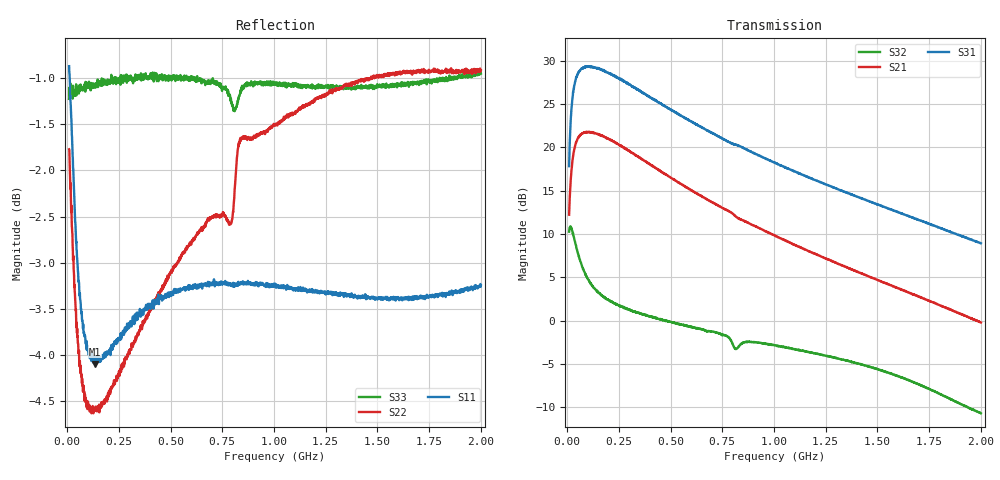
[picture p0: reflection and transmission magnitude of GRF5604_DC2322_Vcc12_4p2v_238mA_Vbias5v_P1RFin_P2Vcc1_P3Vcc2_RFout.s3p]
!Keysight Technologies,N5244B,MY57181157,A.18.40.03
!Date: Wednesday, September 10, 2025 10:41:40
!Correction: S11(C  3-Port  )
!S12(C  3-Port  )
!S13(C  3-Port  )
!S21(C  3-Port  )
!S22(C  3-Port  )
!S23(C  3-Port  )
!S31(C  3-Port  )
!S32(C  3-Port  )
!S33(C  3-Port  )
!S3P File: Measurements: <S11,S12,S13>,
!<S21,S22,S23>,
!<S31,S32,S33>:
# Hz S  RI  R 50
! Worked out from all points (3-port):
!   1991 points, 10 MHz to 2 GHz, reference 50 ohm
!   strongest paths, dB at 10 MHz, 507 MHz, 1.005 GHz, 1.503 GHz, 2 GHz:
!     S31: 17.8, 24.3, 18.2, 13.4, 8.9
!     S21: 12.2, 16.4, 9.8, 4.7, -0.2
!     S32: 10.3, -0.2, -2.8, -5.6, -10.7
!   lowest |S11| = -4.1 dB at 136 MHz (marker M1), VSWR 4.32, Z = 40.9 - j71.7 ohm
!   |S11| at or under -10 dB: nowhere
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1e7  0.8894 -0.165  0.0407 -0.011  0.000728 -0.000322
     -1.737 -3.701  0.712 -0.3977  0.0052 -0.0093
     -1.327 7.674  -3.045 -1.166  -0.2883 -0.8191
3e7  0.7222 -0.3337  0.0267 -0.0191  1.81e-05 0.000115
     -7.034 -5.636  0.2243 -0.678  0.00146 0.00042
     12.96 16.28  -2.986 0.9536  -0.7784 -0.3991
6e7  0.5448 -0.4062  0.0143 -0.0158  -5.3e-05 5.47e-05
     -11.24 -2.717  -0.2002 -0.5897  0.00415 0.00274
     25.91 9.289  -1.902 1.263  -0.854 -0.2164
9.2e7  0.4399 -0.4651  0.00983 -0.0111  0.000278 -0.00016
       -12.23 0.5204  -0.3682 -0.4669  0.00484 0.00321
       29.09 0.6414  -1.434 1.111  -0.8664 -0.1515
1.36e8  0.3219 -0.5346  0.00811 -0.00682  -0.000125 0.00015
        -11.43 3.738  -0.4631 -0.3634  0.00587 0.00438
        27.71 -8.104  -1.172 0.971  -0.8786 -0.108
2.65e8  0.00291 -0.6474  0.00825 -0.00209  -0.000105 0.000244
        -6.661 7.641  -0.5735 -0.2403  0.00901 0.00508
        15.84 -18.6  -0.856 0.8484  -0.8865 -0.065
4.91e8  -0.3424 -0.5879  0.00934 -0.000533  -0.000326 0.000682
        -0.973 6.727  -0.6787 -0.149  0.011 0.00485
        1.197 -16.79  -0.5349 0.8346  -0.893 -0.0469
7.02e8  -0.4895 -0.4845  0.0098 -0.000436  -0.000498 0.00139
        1 4.71  -0.7456 -0.0848  0.0121 0.00634
        -3.948 -11.38  -0.2832 0.818  -0.8856 -0.0326
1.005e9  -0.5896 -0.3581  0.00916 -0.00112  -0.000482 0.00215
         1.681 2.606  -0.841 -0.00133  0.00876 0.00196
         -5.813 -5.734  -0.0416 0.7206  -0.8855 -0.0226
2e9  -0.6869 0.0442  0.00827 0.0021  0.000575 0.00475
     0.9621 0.1711  -0.8063 0.3992  0.00992 0.00994
     -2.65 0.8996  0.2226 0.1896  -0.8847 0.1438
